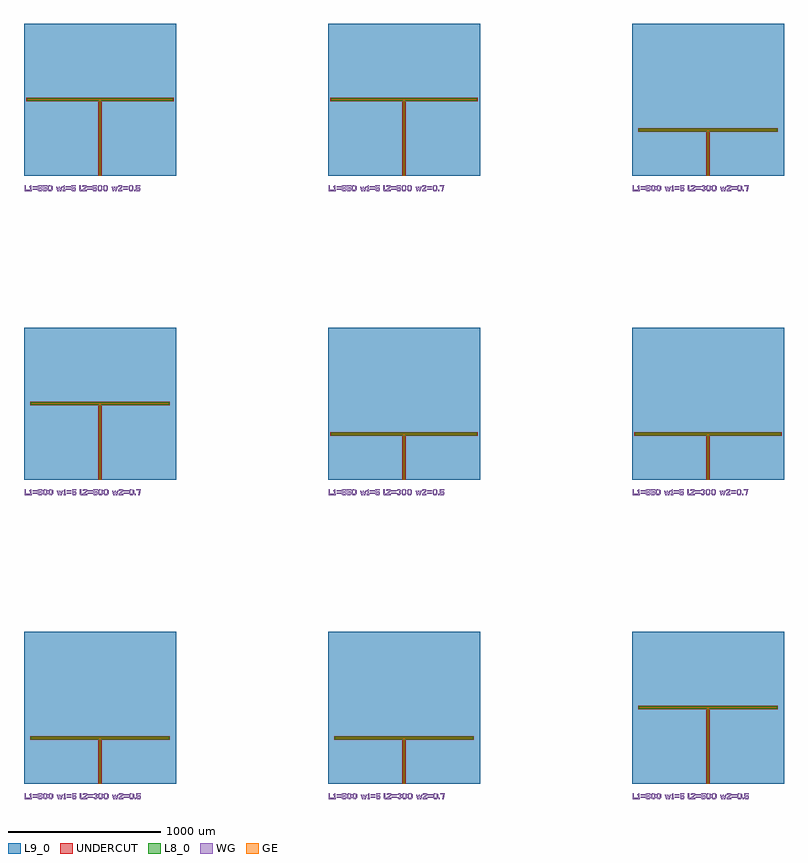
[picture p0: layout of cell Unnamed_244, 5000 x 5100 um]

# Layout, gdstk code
import gdstk
lib = gdstk.Library(unit=1e-6, precision=1e-09)
def R(c, l, rs):  # rectangles x0, y0, x1, y1
    for r in rs: c.add(gdstk.rectangle(r[:2], r[2:], *l))
def P(c, l, *ps):  # polygons
    for p in ps: c.add(gdstk.Polygon(p, *l))
WG = (1, 0)
GE = (5, 0)
UNDERCUT = (6, 0)
L8_0 = (8, 0)
L9_0 = (9, 0)

text_tl1950_w15_l2500_w_ = lib.new_cell('text_TL1950_w15_l2500_w_086d4185')
R(text_tl1950_w15_l2500_w_, WG, [(724,0,732,8), (56,8,88,16), (276,8,308,16), (416,8,448,16), (652,8,684,16), (56,24,88,32), (276,24,308,32), (416,24,448,32), (652,24,684,32)])
P(text_tl1950_w15_l2500_w_, WG, [(748,0),(754.4,32),(736,32),(736,40),(764,40),(756,0)],
  [(368,0),(364,4),(364,40),(372,40),(372,8),(380,8),(380,0)],
  [(4,0),(4,40),(12,40),(12,8),(32,8),(32,0)],
  [(220,0),(212,28),(220,28),(224,14),(228,28),(236,28),(240,14),(244,28),(252,28),(244,0),(236,0),(232,14),(228,0)],
  [(584,0),(576,28),(584,28),(588,14),(592,28),(600,28),(604,14),(608,28),(616,28),(608,0),(600,0),(596,14),(592,0)],
  [(170.8,0),(172.8,8),(176,8),(180,12),(180,28),(176,32),(178,40),(180,40),(188,32),(188,8),(180,0)],
  [(498.8,0),(500.8,8),(504,8),(508,12),(508,28),(504,32),(506,40),(508,40),(516,32),(516,8),(508,0)],
  [(534.8,0),(536.8,8),(540,8),(544,12),(544,28),(540,32),(542,40),(544,40),(552,32),(552,8),(544,0)],
  [(702.8,0),(704.8,8),(708,8),(712,12),(712,28),(708,32),(710,40),(712,40),(720,32),(720,8),(712,0)],
  [(164,0),(156,8),(156,32),(164,40),(173.2,40),(171.2,32),(168,32),(164,28),(164,12),(168,8),(166,0)],
  [(492,0),(484,8),(484,32),(492,40),(501.2,40),(499.2,32),(496,32),(492,28),(492,12),(496,8),(494,0)],
  [(528,0),(520,8),(520,32),(528,40),(537.2,40),(535.2,32),(532,32),(528,28),(528,12),(532,8),(530,0)],
  [(696,0),(688,8),(688,32),(696,40),(705.2,40),(703.2,32),(700,32),(696,28),(696,12),(700,8),(698,0)],
  [(128,0),(124,4),(124,12),(132,12),(132,8),(144,8),(144,16),(128,16),(124,20),(124,40),(152,40),(152,32),(132,32),(132,24),(148,24),(152,20),(152,4),(148,0)],
  [(316,0),(312,4),(312,12),(320,12),(320,8),(332,8),(332,16),(316,16),(312,20),(312,40),(340,40),(340,32),(320,32),(320,24),(336,24),(340,20),(340,4),(336,0)],
  [(456,0),(452,4),(452,12),(460,12),(460,8),(472,8),(472,16),(456,16),(452,20),(452,40),(480,40),(480,32),(460,32),(460,24),(476,24),(480,20),(480,4),(476,0)],
  [(96,0),(92,4),(92,12),(100,12),(100,8),(112,8),(112,16),(96,16),(92,20),(92,36),(96,40),(104,40),(104,32),(100,32),(100,24),(112,24),(112,32),(108,32),(108,40),(116,40),(120,36),(120,4),(116,0)],
  [(36,0),(36,8),(40,8),(40,24),(36,24),(36,32),(44,40),(48,40),(48,8),(52,8),(52,0)],
  [(256,0),(256,8),(260,8),(260,24),(256,24),(256,32),(264,40),(268,40),(268,8),(272,8),(272,0)],
  [(384,0),(384,8),(404,28),(404,32),(392,32),(392,28),(384,28),(384,36),(388,40),(408,40),(412,36),(412,24),(396,8),(412,8),(412,0)],
  [(620,0),(620,8),(640,28),(640,32),(628,32),(628,28),(620,28),(620,36),(624,40),(644,40),(648,36),(648,24),(632,8),(648,8),(648,0)])

rectangle_s960_15_l8_0__ = lib.new_cell('rectangle_S960_15_L8_0__1b9a25d0')
R(rectangle_s960_15_l8_0__, L8_0, [(0,0,960,15)])

rectangle_s10p5_495_l8__ = lib.new_cell('rectangle_S10p5_495_L8__a2ef8117')
R(rectangle_s10p5_495_l8__, L8_0, [(0,0,10.5,495)])

rectangle_s970_25_l6_0__ = lib.new_cell('rectangle_S970_25_L6_0__05adb588')
R(rectangle_s970_25_l6_0__, UNDERCUT, [(0,0,970,25)])

rectangle_s20p5_490_l6__ = lib.new_cell('rectangle_S20p5_490_L6__59c9b7bc')
R(rectangle_s20p5_490_l6__, UNDERCUT, [(0,0,20.5,490)])

rectangle_s950_5_l5_0_c_ = lib.new_cell('rectangle_S950_5_L5_0_C_f04ecbd8')
R(rectangle_s950_5_l5_0_c_, GE, [(0,0,950,5)])

rectangle_s0p5_500_l5_0_ = lib.new_cell('rectangle_S0p5_500_L5_0_ba7ba93c')
R(rectangle_s0p5_500_l5_0_, GE, [(0,0,0.5,500)])

unnamed_241 = lib.new_cell('Unnamed_241')
unnamed_241.add(gdstk.Reference(rectangle_s960_15_l8_0__, (-480,495)))
unnamed_241.add(gdstk.Reference(rectangle_s10p5_495_l8__, (-5.25,0)))
unnamed_241.add(gdstk.Reference(rectangle_s970_25_l6_0__, (-485,490)))
unnamed_241.add(gdstk.Reference(rectangle_s20p5_490_l6__, (-10.25,0)))
unnamed_241.add(gdstk.Reference(rectangle_s950_5_l5_0_c_, (-475,500)))
unnamed_241.add(gdstk.Reference(rectangle_s0p5_500_l5_0_, (-0.25,0)))

c_text_tl1950_w15_l2500_w_ = lib.new_cell('text_TL1950_w15_l2500_w_abd06926')
R(c_text_tl1950_w15_l2500_w_, WG, [(724,0,732,8), (56,8,88,16), (276,8,308,16), (416,8,448,16), (652,8,684,16), (56,24,88,32), (276,24,308,32), (416,24,448,32), (652,24,684,32)])
P(c_text_tl1950_w15_l2500_w_, WG, [(368,0),(364,4),(364,40),(372,40),(372,8),(380,8),(380,0)],
  [(170.8,0),(172.8,8),(176,8),(180,12),(180,28),(176,32),(178,40),(180,40),(188,32),(188,8),(180,0)],
  [(498.8,0),(500.8,8),(504,8),(508,12),(508,28),(504,32),(506,40),(508,40),(516,32),(516,8),(508,0)],
  [(534.8,0),(536.8,8),(540,8),(544,12),(544,28),(540,32),(542,40),(544,40),(552,32),(552,8),(544,0)],
  [(702.8,0),(704.8,8),(708,8),(712,12),(712,28),(708,32),(710,40),(712,40),(720,32),(720,8),(712,0)],
  [(164,0),(156,8),(156,32),(164,40),(173.2,40),(171.2,32),(168,32),(164,28),(164,12),(168,8),(166,0)],
  [(492,0),(484,8),(484,32),(492,40),(501.2,40),(499.2,32),(496,32),(492,28),(492,12),(496,8),(494,0)],
  [(528,0),(520,8),(520,32),(528,40),(537.2,40),(535.2,32),(532,32),(528,28),(528,12),(532,8),(530,0)],
  [(696,0),(688,8),(688,32),(696,40),(705.2,40),(703.2,32),(700,32),(696,28),(696,12),(700,8),(698,0)],
  [(128,0),(124,4),(124,12),(132,12),(132,8),(144,8),(144,16),(128,16),(124,20),(124,40),(152,40),(152,32),(132,32),(132,24),(148,24),(152,20),(152,4),(148,0)],
  [(316,0),(312,4),(312,12),(320,12),(320,8),(332,8),(332,16),(316,16),(312,20),(312,40),(340,40),(340,32),(320,32),(320,24),(336,24),(340,20),(340,4),(336,0)],
  [(456,0),(452,4),(452,12),(460,12),(460,8),(472,8),(472,16),(456,16),(452,20),(452,40),(480,40),(480,32),(460,32),(460,24),(476,24),(480,20),(480,4),(476,0)],
  [(740,0),(736,4),(736,12),(744,12),(744,8),(756,8),(756,16),(740,16),(736,20),(736,40),(764,40),(764,32),(744,32),(744,24),(760,24),(764,20),(764,4),(760,0)],
  [(96,0),(92,4),(92,12),(100,12),(100,8),(112,8),(112,16),(96,16),(92,20),(92,36),(96,40),(104,40),(104,32),(100,32),(100,24),(112,24),(112,32),(108,32),(108,40),(116,40),(120,36),(120,4),(116,0)],
  [(220,0),(212,28),(220,28),(224,14),(228,28),(236,28),(240,14),(244,28),(252,28),(244,0),(236,0),(232,14),(228,0)],
  [(584,0),(576,28),(584,28),(588,14),(592,28),(600,28),(604,14),(608,28),(616,28),(608,0),(600,0),(596,14),(592,0)],
  [(36,0),(36,8),(40,8),(40,24),(36,24),(36,32),(44,40),(48,40),(48,8),(52,8),(52,0)],
  [(256,0),(256,8),(260,8),(260,24),(256,24),(256,32),(264,40),(268,40),(268,8),(272,8),(272,0)],
  [(384,0),(384,8),(404,28),(404,32),(392,32),(392,28),(384,28),(384,36),(388,40),(408,40),(412,36),(412,24),(396,8),(412,8),(412,0)],
  [(620,0),(620,8),(640,28),(640,32),(628,32),(628,28),(620,28),(620,36),(624,40),(644,40),(648,36),(648,24),(632,8),(648,8),(648,0)],
  [(4,0),(4,40),(12,40),(12,8),(32,8),(32,0)])

text_tl1950_w15_l2300_w_ = lib.new_cell('text_TL1950_w15_l2300_w_52a5731e')
R(text_tl1950_w15_l2300_w_, WG, [(724,0,732,8), (56,8,88,16), (276,8,308,16), (416,8,448,16), (652,8,684,16), (56,24,88,32), (276,24,308,32), (416,24,448,32), (652,24,684,32)])
P(text_tl1950_w15_l2300_w_, WG, [(748,0),(754.4,32),(736,32),(736,40),(764,40),(756,0)],
  [(460,0),(452,8),(452,12),(460,12),(464,8),(468,8),(472,12),(468,16),(468,24),(472,28),(468,32),(464,32),(460,28),(452,28),(452,32),(460,40),(472,40),(480,32),(480,24),(476,20),(480,16),(480,8),(472,0)],
  [(368,0),(364,4),(364,40),(372,40),(372,8),(380,8),(380,0)],
  [(4,0),(4,40),(12,40),(12,8),(32,8),(32,0)],
  [(220,0),(212,28),(220,28),(224,14),(228,28),(236,28),(240,14),(244,28),(252,28),(244,0),(236,0),(232,14),(228,0)],
  [(584,0),(576,28),(584,28),(588,14),(592,28),(600,28),(604,14),(608,28),(616,28),(608,0),(600,0),(596,14),(592,0)],
  [(170.8,0),(172.8,8),(176,8),(180,12),(180,28),(176,32),(178,40),(180,40),(188,32),(188,8),(180,0)],
  [(498.8,0),(500.8,8),(504,8),(508,12),(508,28),(504,32),(506,40),(508,40),(516,32),(516,8),(508,0)],
  [(534.8,0),(536.8,8),(540,8),(544,12),(544,28),(540,32),(542,40),(544,40),(552,32),(552,8),(544,0)],
  [(702.8,0),(704.8,8),(708,8),(712,12),(712,28),(708,32),(710,40),(712,40),(720,32),(720,8),(712,0)],
  [(164,0),(156,8),(156,32),(164,40),(173.2,40),(171.2,32),(168,32),(164,28),(164,12),(168,8),(166,0)],
  [(492,0),(484,8),(484,32),(492,40),(501.2,40),(499.2,32),(496,32),(492,28),(492,12),(496,8),(494,0)],
  [(528,0),(520,8),(520,32),(528,40),(537.2,40),(535.2,32),(532,32),(528,28),(528,12),(532,8),(530,0)],
  [(696,0),(688,8),(688,32),(696,40),(705.2,40),(703.2,32),(700,32),(696,28),(696,12),(700,8),(698,0)],
  [(128,0),(124,4),(124,12),(132,12),(132,8),(144,8),(144,16),(128,16),(124,20),(124,40),(152,40),(152,32),(132,32),(132,24),(148,24),(152,20),(152,4),(148,0)],
  [(316,0),(312,4),(312,12),(320,12),(320,8),(332,8),(332,16),(316,16),(312,20),(312,40),(340,40),(340,32),(320,32),(320,24),(336,24),(340,20),(340,4),(336,0)],
  [(96,0),(92,4),(92,12),(100,12),(100,8),(112,8),(112,16),(96,16),(92,20),(92,36),(96,40),(104,40),(104,32),(100,32),(100,24),(112,24),(112,32),(108,32),(108,40),(116,40),(120,36),(120,4),(116,0)],
  [(36,0),(36,8),(40,8),(40,24),(36,24),(36,32),(44,40),(48,40),(48,8),(52,8),(52,0)],
  [(256,0),(256,8),(260,8),(260,24),(256,24),(256,32),(264,40),(268,40),(268,8),(272,8),(272,0)],
  [(384,0),(384,8),(404,28),(404,32),(392,32),(392,28),(384,28),(384,36),(388,40),(408,40),(412,36),(412,24),(396,8),(412,8),(412,0)],
  [(620,0),(620,8),(640,28),(640,32),(628,32),(628,28),(620,28),(620,36),(624,40),(644,40),(648,36),(648,24),(632,8),(648,8),(648,0)])

rectangle_s0p7_300_l5_0_ = lib.new_cell('rectangle_S0p7_300_L5_0_106584ea')
R(rectangle_s0p7_300_l5_0_, GE, [(0,0,0.7,300)])

rectangle_s20p7_290_l6__ = lib.new_cell('rectangle_S20p7_290_L6__7863e632')
R(rectangle_s20p7_290_l6__, UNDERCUT, [(0,0,20.7,290)])

rectangle_s10p7_295_l8__ = lib.new_cell('rectangle_S10p7_295_L8__5a437f7c')
R(rectangle_s10p7_295_l8__, L8_0, [(0,0,10.7,295)])

unnamed_240 = lib.new_cell('Unnamed_240')
unnamed_240.add(gdstk.Reference(rectangle_s960_15_l8_0__, (-480,295)))
unnamed_240.add(gdstk.Reference(rectangle_s970_25_l6_0__, (-485,290)))
unnamed_240.add(gdstk.Reference(rectangle_s0p7_300_l5_0_, (-0.35,0)))
unnamed_240.add(gdstk.Reference(rectangle_s20p7_290_l6__, (-10.35,0)))
unnamed_240.add(gdstk.Reference(rectangle_s10p7_295_l8__, (-5.35,0)))
unnamed_240.add(gdstk.Reference(rectangle_s950_5_l5_0_c_, (-475,300)))

c_text_tl1950_w15_l2300_w_ = lib.new_cell('text_TL1950_w15_l2300_w_c73371ed')
R(c_text_tl1950_w15_l2300_w_, WG, [(724,0,732,8), (56,8,88,16), (276,8,308,16), (416,8,448,16), (652,8,684,16), (56,24,88,32), (276,24,308,32), (416,24,448,32), (652,24,684,32)])
P(c_text_tl1950_w15_l2300_w_, WG, [(460,0),(452,8),(452,12),(460,12),(464,8),(468,8),(472,12),(468,16),(468,24),(472,28),(468,32),(464,32),(460,28),(452,28),(452,32),(460,40),(472,40),(480,32),(480,24),(476,20),(480,16),(480,8),(472,0)],
  [(368,0),(364,4),(364,40),(372,40),(372,8),(380,8),(380,0)],
  [(4,0),(4,40),(12,40),(12,8),(32,8),(32,0)],
  [(220,0),(212,28),(220,28),(224,14),(228,28),(236,28),(240,14),(244,28),(252,28),(244,0),(236,0),(232,14),(228,0)],
  [(584,0),(576,28),(584,28),(588,14),(592,28),(600,28),(604,14),(608,28),(616,28),(608,0),(600,0),(596,14),(592,0)],
  [(170.8,0),(172.8,8),(176,8),(180,12),(180,28),(176,32),(178,40),(180,40),(188,32),(188,8),(180,0)],
  [(498.8,0),(500.8,8),(504,8),(508,12),(508,28),(504,32),(506,40),(508,40),(516,32),(516,8),(508,0)],
  [(534.8,0),(536.8,8),(540,8),(544,12),(544,28),(540,32),(542,40),(544,40),(552,32),(552,8),(544,0)],
  [(702.8,0),(704.8,8),(708,8),(712,12),(712,28),(708,32),(710,40),(712,40),(720,32),(720,8),(712,0)],
  [(164,0),(156,8),(156,32),(164,40),(173.2,40),(171.2,32),(168,32),(164,28),(164,12),(168,8),(166,0)],
  [(492,0),(484,8),(484,32),(492,40),(501.2,40),(499.2,32),(496,32),(492,28),(492,12),(496,8),(494,0)],
  [(528,0),(520,8),(520,32),(528,40),(537.2,40),(535.2,32),(532,32),(528,28),(528,12),(532,8),(530,0)],
  [(696,0),(688,8),(688,32),(696,40),(705.2,40),(703.2,32),(700,32),(696,28),(696,12),(700,8),(698,0)],
  [(128,0),(124,4),(124,12),(132,12),(132,8),(144,8),(144,16),(128,16),(124,20),(124,40),(152,40),(152,32),(132,32),(132,24),(148,24),(152,20),(152,4),(148,0)],
  [(316,0),(312,4),(312,12),(320,12),(320,8),(332,8),(332,16),(316,16),(312,20),(312,40),(340,40),(340,32),(320,32),(320,24),(336,24),(340,20),(340,4),(336,0)],
  [(740,0),(736,4),(736,12),(744,12),(744,8),(756,8),(756,16),(740,16),(736,20),(736,40),(764,40),(764,32),(744,32),(744,24),(760,24),(764,20),(764,4),(760,0)],
  [(96,0),(92,4),(92,12),(100,12),(100,8),(112,8),(112,16),(96,16),(92,20),(92,36),(96,40),(104,40),(104,32),(100,32),(100,24),(112,24),(112,32),(108,32),(108,40),(116,40),(120,36),(120,4),(116,0)],
  [(36,0),(36,8),(40,8),(40,24),(36,24),(36,32),(44,40),(48,40),(48,8),(52,8),(52,0)],
  [(256,0),(256,8),(260,8),(260,24),(256,24),(256,32),(264,40),(268,40),(268,8),(272,8),(272,0)],
  [(384,0),(384,8),(404,28),(404,32),(392,32),(392,28),(384,28),(384,36),(388,40),(408,40),(412,36),(412,24),(396,8),(412,8),(412,0)],
  [(620,0),(620,8),(640,28),(640,32),(628,32),(628,28),(620,28),(620,36),(624,40),(644,40),(648,36),(648,24),(632,8),(648,8),(648,0)])

rectangle_s10p5_295_l8__ = lib.new_cell('rectangle_S10p5_295_L8__ffa8a64a')
R(rectangle_s10p5_295_l8__, L8_0, [(0,0,10.5,295)])

rectangle_s20p5_290_l6__ = lib.new_cell('rectangle_S20p5_290_L6__af2a2720')
R(rectangle_s20p5_290_l6__, UNDERCUT, [(0,0,20.5,290)])

rectangle_s0p5_300_l5_0_ = lib.new_cell('rectangle_S0p5_300_L5_0_bcf38b65')
R(rectangle_s0p5_300_l5_0_, GE, [(0,0,0.5,300)])

unnamed_239 = lib.new_cell('Unnamed_239')
unnamed_239.add(gdstk.Reference(rectangle_s960_15_l8_0__, (-480,295)))
unnamed_239.add(gdstk.Reference(rectangle_s10p5_295_l8__, (-5.25,0)))
unnamed_239.add(gdstk.Reference(rectangle_s20p5_290_l6__, (-10.25,0)))
unnamed_239.add(gdstk.Reference(rectangle_s970_25_l6_0__, (-485,290)))
unnamed_239.add(gdstk.Reference(rectangle_s950_5_l5_0_c_, (-475,300)))
unnamed_239.add(gdstk.Reference(rectangle_s0p5_300_l5_0_, (-0.25,0)))

text_tl1900_w15_l2500_w_ = lib.new_cell('text_TL1900_w15_l2500_w_924e79f2')
R(text_tl1900_w15_l2500_w_, WG, [(728,0,736,8), (56,8,88,16), (280,8,312,16), (420,8,452,16), (656,8,688,16), (56,24,88,32), (280,24,312,32), (420,24,452,32), (656,24,688,32)])
P(text_tl1900_w15_l2500_w_, WG, [(752,0),(758.4,32),(740,32),(740,40),(768,40),(760,0)],
  [(372,0),(368,4),(368,40),(376,40),(376,8),(384,8),(384,0)],
  [(320,0),(316,4),(316,12),(324,12),(324,8),(336,8),(336,16),(320,16),(316,20),(316,40),(344,40),(344,32),(324,32),(324,24),(340,24),(344,20),(344,4),(340,0)],
  [(460,0),(456,4),(456,12),(464,12),(464,8),(476,8),(476,16),(460,16),(456,20),(456,40),(484,40),(484,32),(464,32),(464,24),(480,24),(484,20),(484,4),(480,0)],
  [(4,0),(4,40),(12,40),(12,8),(32,8),(32,0)],
  [(224,0),(216,28),(224,28),(228,14),(232,28),(240,28),(244,14),(248,28),(256,28),(248,0),(240,0),(236,14),(232,0)],
  [(588,0),(580,28),(588,28),(592,14),(596,28),(604,28),(608,14),(612,28),(620,28),(612,0),(604,0),(600,14),(596,0)],
  [(138.8,0),(140.8,8),(144,8),(148,12),(148,28),(144,32),(146,40),(148,40),(156,32),(156,8),(148,0)],
  [(174.8,0),(176.8,8),(180,8),(184,12),(184,28),(180,32),(182,40),(184,40),(192,32),(192,8),(184,0)],
  [(502.8,0),(504.8,8),(508,8),(512,12),(512,28),(508,32),(510,40),(512,40),(520,32),(520,8),(512,0)],
  [(538.8,0),(540.8,8),(544,8),(548,12),(548,28),(544,32),(546,40),(548,40),(556,32),(556,8),(548,0)],
  [(706.8,0),(708.8,8),(712,8),(716,12),(716,28),(712,32),(714,40),(716,40),(724,32),(724,8),(716,0)],
  [(132,0),(124,8),(124,32),(132,40),(141.2,40),(139.2,32),(136,32),(132,28),(132,12),(136,8),(134,0)],
  [(168,0),(160,8),(160,32),(168,40),(177.2,40),(175.2,32),(172,32),(168,28),(168,12),(172,8),(170,0)],
  [(496,0),(488,8),(488,32),(496,40),(505.2,40),(503.2,32),(500,32),(496,28),(496,12),(500,8),(498,0)],
  [(532,0),(524,8),(524,32),(532,40),(541.2,40),(539.2,32),(536,32),(532,28),(532,12),(536,8),(534,0)],
  [(700,0),(692,8),(692,32),(700,40),(709.2,40),(707.2,32),(704,32),(700,28),(700,12),(704,8),(702,0)],
  [(96,0),(92,4),(92,12),(100,12),(100,8),(112,8),(112,16),(96,16),(92,20),(92,36),(96,40),(104,40),(104,32),(100,32),(100,24),(112,24),(112,32),(108,32),(108,40),(116,40),(120,36),(120,4),(116,0)],
  [(36,0),(36,8),(40,8),(40,24),(36,24),(36,32),(44,40),(48,40),(48,8),(52,8),(52,0)],
  [(260,0),(260,8),(264,8),(264,24),(260,24),(260,32),(268,40),(272,40),(272,8),(276,8),(276,0)],
  [(388,0),(388,8),(408,28),(408,32),(396,32),(396,28),(388,28),(388,36),(392,40),(412,40),(416,36),(416,24),(400,8),(416,8),(416,0)],
  [(624,0),(624,8),(644,28),(644,32),(632,32),(632,28),(624,28),(624,36),(628,40),(648,40),(652,36),(652,24),(636,8),(652,8),(652,0)])

rectangle_s920_25_l6_0__ = lib.new_cell('rectangle_S920_25_L6_0__c2643c97')
R(rectangle_s920_25_l6_0__, UNDERCUT, [(0,0,920,25)])

rectangle_s0p7_500_l5_0_ = lib.new_cell('rectangle_S0p7_500_L5_0_5f5ccab6')
R(rectangle_s0p7_500_l5_0_, GE, [(0,0,0.7,500)])

rectangle_s20p7_490_l6__ = lib.new_cell('rectangle_S20p7_490_L6__c76dff1f')
R(rectangle_s20p7_490_l6__, UNDERCUT, [(0,0,20.7,490)])

rectangle_s900_5_l5_0_c_ = lib.new_cell('rectangle_S900_5_L5_0_C_e98a737c')
R(rectangle_s900_5_l5_0_c_, GE, [(0,0,900,5)])

rectangle_s910_15_l8_0__ = lib.new_cell('rectangle_S910_15_L8_0__1d112a65')
R(rectangle_s910_15_l8_0__, L8_0, [(0,0,910,15)])

rectangle_s10p7_495_l8__ = lib.new_cell('rectangle_S10p7_495_L8__2b4584b7')
R(rectangle_s10p7_495_l8__, L8_0, [(0,0,10.7,495)])

unnamed_238 = lib.new_cell('Unnamed_238')
unnamed_238.add(gdstk.Reference(rectangle_s920_25_l6_0__, (-460,490)))
unnamed_238.add(gdstk.Reference(rectangle_s0p7_500_l5_0_, (-0.35,0)))
unnamed_238.add(gdstk.Reference(rectangle_s20p7_490_l6__, (-10.35,0)))
unnamed_238.add(gdstk.Reference(rectangle_s900_5_l5_0_c_, (-450,500)))
unnamed_238.add(gdstk.Reference(rectangle_s910_15_l8_0__, (-455,495)))
unnamed_238.add(gdstk.Reference(rectangle_s10p7_495_l8__, (-5.35,0)))

unnamed_237 = lib.new_cell('Unnamed_237')
unnamed_237.add(gdstk.Reference(rectangle_s910_15_l8_0__, (-455,495)))
unnamed_237.add(gdstk.Reference(rectangle_s10p5_495_l8__, (-5.25,0)))
unnamed_237.add(gdstk.Reference(rectangle_s920_25_l6_0__, (-460,490)))
unnamed_237.add(gdstk.Reference(rectangle_s20p5_490_l6__, (-10.25,0)))
unnamed_237.add(gdstk.Reference(rectangle_s900_5_l5_0_c_, (-450,500)))
unnamed_237.add(gdstk.Reference(rectangle_s0p5_500_l5_0_, (-0.25,0)))

text_tl1900_w15_l2300_w_ = lib.new_cell('text_TL1900_w15_l2300_w_3a80fd20')
R(text_tl1900_w15_l2300_w_, WG, [(728,0,736,8), (56,8,88,16), (280,8,312,16), (420,8,452,16), (656,8,688,16), (56,24,88,32), (280,24,312,32), (420,24,452,32), (656,24,688,32)])
P(text_tl1900_w15_l2300_w_, WG, [(752,0),(758.4,32),(740,32),(740,40),(768,40),(760,0)],
  [(464,0),(456,8),(456,12),(464,12),(468,8),(472,8),(476,12),(472,16),(472,24),(476,28),(472,32),(468,32),(464,28),(456,28),(456,32),(464,40),(476,40),(484,32),(484,24),(480,20),(484,16),(484,8),(476,0)],
  [(372,0),(368,4),(368,40),(376,40),(376,8),(384,8),(384,0)],
  [(320,0),(316,4),(316,12),(324,12),(324,8),(336,8),(336,16),(320,16),(316,20),(316,40),(344,40),(344,32),(324,32),(324,24),(340,24),(344,20),(344,4),(340,0)],
  [(4,0),(4,40),(12,40),(12,8),(32,8),(32,0)],
  [(224,0),(216,28),(224,28),(228,14),(232,28),(240,28),(244,14),(248,28),(256,28),(248,0),(240,0),(236,14),(232,0)],
  [(588,0),(580,28),(588,28),(592,14),(596,28),(604,28),(608,14),(612,28),(620,28),(612,0),(604,0),(600,14),(596,0)],
  [(138.8,0),(140.8,8),(144,8),(148,12),(148,28),(144,32),(146,40),(148,40),(156,32),(156,8),(148,0)],
  [(174.8,0),(176.8,8),(180,8),(184,12),(184,28),(180,32),(182,40),(184,40),(192,32),(192,8),(184,0)],
  [(502.8,0),(504.8,8),(508,8),(512,12),(512,28),(508,32),(510,40),(512,40),(520,32),(520,8),(512,0)],
  [(538.8,0),(540.8,8),(544,8),(548,12),(548,28),(544,32),(546,40),(548,40),(556,32),(556,8),(548,0)],
  [(706.8,0),(708.8,8),(712,8),(716,12),(716,28),(712,32),(714,40),(716,40),(724,32),(724,8),(716,0)],
  [(132,0),(124,8),(124,32),(132,40),(141.2,40),(139.2,32),(136,32),(132,28),(132,12),(136,8),(134,0)],
  [(168,0),(160,8),(160,32),(168,40),(177.2,40),(175.2,32),(172,32),(168,28),(168,12),(172,8),(170,0)],
  [(496,0),(488,8),(488,32),(496,40),(505.2,40),(503.2,32),(500,32),(496,28),(496,12),(500,8),(498,0)],
  [(532,0),(524,8),(524,32),(532,40),(541.2,40),(539.2,32),(536,32),(532,28),(532,12),(536,8),(534,0)],
  [(700,0),(692,8),(692,32),(700,40),(709.2,40),(707.2,32),(704,32),(700,28),(700,12),(704,8),(702,0)],
  [(96,0),(92,4),(92,12),(100,12),(100,8),(112,8),(112,16),(96,16),(92,20),(92,36),(96,40),(104,40),(104,32),(100,32),(100,24),(112,24),(112,32),(108,32),(108,40),(116,40),(120,36),(120,4),(116,0)],
  [(36,0),(36,8),(40,8),(40,24),(36,24),(36,32),(44,40),(48,40),(48,8),(52,8),(52,0)],
  [(260,0),(260,8),(264,8),(264,24),(260,24),(260,32),(268,40),(272,40),(272,8),(276,8),(276,0)],
  [(388,0),(388,8),(408,28),(408,32),(396,32),(396,28),(388,28),(388,36),(392,40),(412,40),(416,36),(416,24),(400,8),(416,8),(416,0)],
  [(624,0),(624,8),(644,28),(644,32),(632,32),(632,28),(624,28),(624,36),(628,40),(648,40),(652,36),(652,24),(636,8),(652,8),(652,0)])

c_text_tl1900_w15_l2500_w_ = lib.new_cell('text_TL1900_w15_l2500_w_5df65d30')
R(c_text_tl1900_w15_l2500_w_, WG, [(728,0,736,8), (56,8,88,16), (280,8,312,16), (420,8,452,16), (656,8,688,16), (56,24,88,32), (280,24,312,32), (420,24,452,32), (656,24,688,32)])
P(c_text_tl1900_w15_l2500_w_, WG, [(372,0),(368,4),(368,40),(376,40),(376,8),(384,8),(384,0)],
  [(320,0),(316,4),(316,12),(324,12),(324,8),(336,8),(336,16),(320,16),(316,20),(316,40),(344,40),(344,32),(324,32),(324,24),(340,24),(344,20),(344,4),(340,0)],
  [(460,0),(456,4),(456,12),(464,12),(464,8),(476,8),(476,16),(460,16),(456,20),(456,40),(484,40),(484,32),(464,32),(464,24),(480,24),(484,20),(484,4),(480,0)],
  [(744,0),(740,4),(740,12),(748,12),(748,8),(760,8),(760,16),(744,16),(740,20),(740,40),(768,40),(768,32),(748,32),(748,24),(764,24),(768,20),(768,4),(764,0)],
  [(138.8,0),(140.8,8),(144,8),(148,12),(148,28),(144,32),(146,40),(148,40),(156,32),(156,8),(148,0)],
  [(174.8,0),(176.8,8),(180,8),(184,12),(184,28),(180,32),(182,40),(184,40),(192,32),(192,8),(184,0)],
  [(502.8,0),(504.8,8),(508,8),(512,12),(512,28),(508,32),(510,40),(512,40),(520,32),(520,8),(512,0)],
  [(538.8,0),(540.8,8),(544,8),(548,12),(548,28),(544,32),(546,40),(548,40),(556,32),(556,8),(548,0)],
  [(706.8,0),(708.8,8),(712,8),(716,12),(716,28),(712,32),(714,40),(716,40),(724,32),(724,8),(716,0)],
  [(132,0),(124,8),(124,32),(132,40),(141.2,40),(139.2,32),(136,32),(132,28),(132,12),(136,8),(134,0)],
  [(168,0),(160,8),(160,32),(168,40),(177.2,40),(175.2,32),(172,32),(168,28),(168,12),(172,8),(170,0)],
  [(496,0),(488,8),(488,32),(496,40),(505.2,40),(503.2,32),(500,32),(496,28),(496,12),(500,8),(498,0)],
  [(532,0),(524,8),(524,32),(532,40),(541.2,40),(539.2,32),(536,32),(532,28),(532,12),(536,8),(534,0)],
  [(700,0),(692,8),(692,32),(700,40),(709.2,40),(707.2,32),(704,32),(700,28),(700,12),(704,8),(702,0)],
  [(96,0),(92,4),(92,12),(100,12),(100,8),(112,8),(112,16),(96,16),(92,20),(92,36),(96,40),(104,40),(104,32),(100,32),(100,24),(112,24),(112,32),(108,32),(108,40),(116,40),(120,36),(120,4),(116,0)],
  [(224,0),(216,28),(224,28),(228,14),(232,28),(240,28),(244,14),(248,28),(256,28),(248,0),(240,0),(236,14),(232,0)],
  [(588,0),(580,28),(588,28),(592,14),(596,28),(604,28),(608,14),(612,28),(620,28),(612,0),(604,0),(600,14),(596,0)],
  [(36,0),(36,8),(40,8),(40,24),(36,24),(36,32),(44,40),(48,40),(48,8),(52,8),(52,0)],
  [(260,0),(260,8),(264,8),(264,24),(260,24),(260,32),(268,40),(272,40),(272,8),(276,8),(276,0)],
  [(388,0),(388,8),(408,28),(408,32),(396,32),(396,28),(388,28),(388,36),(392,40),(412,40),(416,36),(416,24),(400,8),(416,8),(416,0)],
  [(624,0),(624,8),(644,28),(644,32),(632,32),(632,28),(624,28),(624,36),(628,40),(648,40),(652,36),(652,24),(636,8),(652,8),(652,0)],
  [(4,0),(4,40),(12,40),(12,8),(32,8),(32,0)])

unnamed_236 = lib.new_cell('Unnamed_236')
unnamed_236.add(gdstk.Reference(rectangle_s910_15_l8_0__, (-455,295)))
unnamed_236.add(gdstk.Reference(rectangle_s0p7_300_l5_0_, (-0.35,0)))
unnamed_236.add(gdstk.Reference(rectangle_s20p7_290_l6__, (-10.35,0)))
unnamed_236.add(gdstk.Reference(rectangle_s900_5_l5_0_c_, (-450,300)))
unnamed_236.add(gdstk.Reference(rectangle_s10p7_295_l8__, (-5.35,0)))
unnamed_236.add(gdstk.Reference(rectangle_s920_25_l6_0__, (-460,290)))

unnamed_242 = lib.new_cell('Unnamed_242')
unnamed_242.add(gdstk.Reference(rectangle_s960_15_l8_0__, (-480,495)))
unnamed_242.add(gdstk.Reference(rectangle_s0p7_500_l5_0_, (-0.35,0)))
unnamed_242.add(gdstk.Reference(rectangle_s20p7_490_l6__, (-10.35,0)))
unnamed_242.add(gdstk.Reference(rectangle_s950_5_l5_0_c_, (-475,500)))
unnamed_242.add(gdstk.Reference(rectangle_s10p7_495_l8__, (-5.35,0)))
unnamed_242.add(gdstk.Reference(rectangle_s970_25_l6_0__, (-485,490)))

rectangle_s1000_1000_l9_ = lib.new_cell('rectangle_S1000_1000_L9_afc64d79')
R(rectangle_s1000_1000_l9_, L9_0, [(0,0,1000,1000)])

c_text_tl1900_w15_l2300_w_ = lib.new_cell('text_TL1900_w15_l2300_w_2759acd3')
R(c_text_tl1900_w15_l2300_w_, WG, [(728,0,736,8), (56,8,88,16), (280,8,312,16), (420,8,452,16), (656,8,688,16), (56,24,88,32), (280,24,312,32), (420,24,452,32), (656,24,688,32)])
P(c_text_tl1900_w15_l2300_w_, WG, [(464,0),(456,8),(456,12),(464,12),(468,8),(472,8),(476,12),(472,16),(472,24),(476,28),(472,32),(468,32),(464,28),(456,28),(456,32),(464,40),(476,40),(484,32),(484,24),(480,20),(484,16),(484,8),(476,0)],
  [(372,0),(368,4),(368,40),(376,40),(376,8),(384,8),(384,0)],
  [(320,0),(316,4),(316,12),(324,12),(324,8),(336,8),(336,16),(320,16),(316,20),(316,40),(344,40),(344,32),(324,32),(324,24),(340,24),(344,20),(344,4),(340,0)],
  [(744,0),(740,4),(740,12),(748,12),(748,8),(760,8),(760,16),(744,16),(740,20),(740,40),(768,40),(768,32),(748,32),(748,24),(764,24),(768,20),(768,4),(764,0)],
  [(4,0),(4,40),(12,40),(12,8),(32,8),(32,0)],
  [(224,0),(216,28),(224,28),(228,14),(232,28),(240,28),(244,14),(248,28),(256,28),(248,0),(240,0),(236,14),(232,0)],
  [(588,0),(580,28),(588,28),(592,14),(596,28),(604,28),(608,14),(612,28),(620,28),(612,0),(604,0),(600,14),(596,0)],
  [(138.8,0),(140.8,8),(144,8),(148,12),(148,28),(144,32),(146,40),(148,40),(156,32),(156,8),(148,0)],
  [(174.8,0),(176.8,8),(180,8),(184,12),(184,28),(180,32),(182,40),(184,40),(192,32),(192,8),(184,0)],
  [(502.8,0),(504.8,8),(508,8),(512,12),(512,28),(508,32),(510,40),(512,40),(520,32),(520,8),(512,0)],
  [(538.8,0),(540.8,8),(544,8),(548,12),(548,28),(544,32),(546,40),(548,40),(556,32),(556,8),(548,0)],
  [(706.8,0),(708.8,8),(712,8),(716,12),(716,28),(712,32),(714,40),(716,40),(724,32),(724,8),(716,0)],
  [(132,0),(124,8),(124,32),(132,40),(141.2,40),(139.2,32),(136,32),(132,28),(132,12),(136,8),(134,0)],
  [(168,0),(160,8),(160,32),(168,40),(177.2,40),(175.2,32),(172,32),(168,28),(168,12),(172,8),(170,0)],
  [(496,0),(488,8),(488,32),(496,40),(505.2,40),(503.2,32),(500,32),(496,28),(496,12),(500,8),(498,0)],
  [(532,0),(524,8),(524,32),(532,40),(541.2,40),(539.2,32),(536,32),(532,28),(532,12),(536,8),(534,0)],
  [(700,0),(692,8),(692,32),(700,40),(709.2,40),(707.2,32),(704,32),(700,28),(700,12),(704,8),(702,0)],
  [(96,0),(92,4),(92,12),(100,12),(100,8),(112,8),(112,16),(96,16),(92,20),(92,36),(96,40),(104,40),(104,32),(100,32),(100,24),(112,24),(112,32),(108,32),(108,40),(116,40),(120,36),(120,4),(116,0)],
  [(36,0),(36,8),(40,8),(40,24),(36,24),(36,32),(44,40),(48,40),(48,8),(52,8),(52,0)],
  [(260,0),(260,8),(264,8),(264,24),(260,24),(260,32),(268,40),(272,40),(272,8),(276,8),(276,0)],
  [(388,0),(388,8),(408,28),(408,32),(396,32),(396,28),(388,28),(388,36),(392,40),(412,40),(416,36),(416,24),(400,8),(416,8),(416,0)],
  [(624,0),(624,8),(644,28),(644,32),(632,32),(632,28),(624,28),(624,36),(628,40),(648,40),(652,36),(652,24),(636,8),(652,8),(652,0)])

unnamed_235 = lib.new_cell('Unnamed_235')
unnamed_235.add(gdstk.Reference(rectangle_s910_15_l8_0__, (-455,295)))
unnamed_235.add(gdstk.Reference(rectangle_s10p5_295_l8__, (-5.25,0)))
unnamed_235.add(gdstk.Reference(rectangle_s920_25_l6_0__, (-460,290)))
unnamed_235.add(gdstk.Reference(rectangle_s0p5_300_l5_0_, (-0.25,0)))
unnamed_235.add(gdstk.Reference(rectangle_s900_5_l5_0_c_, (-450,300)))
unnamed_235.add(gdstk.Reference(rectangle_s20p5_290_l6__, (-10.25,0)))

unnamed_244 = lib.new_cell('Unnamed_244')
unnamed_244.add(gdstk.Reference(text_tl1950_w15_l2500_w_, (2000,3900)))
unnamed_244.add(gdstk.Reference(unnamed_241, (500,4000)))
unnamed_244.add(gdstk.Reference(c_text_tl1950_w15_l2500_w_, (0,3900)))
unnamed_244.add(gdstk.Reference(text_tl1950_w15_l2300_w_, (4000,1900)))
unnamed_244.add(gdstk.Reference(unnamed_240, (4500,2000)))
unnamed_244.add(gdstk.Reference(c_text_tl1950_w15_l2300_w_, (2000,1900)))
unnamed_244.add(gdstk.Reference(unnamed_239, (2500,2000)))
unnamed_244.add(gdstk.Reference(text_tl1900_w15_l2500_w_, (0,1900)))
unnamed_244.add(gdstk.Reference(unnamed_238, (500,2000)))
unnamed_244.add(gdstk.Reference(unnamed_237, (4500,0)))
unnamed_244.add(gdstk.Reference(text_tl1900_w15_l2300_w_, (2000,-100)))
unnamed_244.add(gdstk.Reference(text_tl1900_w15_l2300_w_, (4000,3900)))
unnamed_244.add(gdstk.Reference(c_text_tl1900_w15_l2500_w_, (4000,-100)))
unnamed_244.add(gdstk.Reference(unnamed_236, (2500,0)))
unnamed_244.add(gdstk.Reference(unnamed_236, (4500,4000)))
unnamed_244.add(gdstk.Reference(unnamed_242, (2500,4000)))
unnamed_244.add(gdstk.Reference(rectangle_s1000_1000_l9_, (0,0)))
unnamed_244.add(gdstk.Reference(rectangle_s1000_1000_l9_, (2000,0)))
unnamed_244.add(gdstk.Reference(rectangle_s1000_1000_l9_, (4000,0)))
unnamed_244.add(gdstk.Reference(rectangle_s1000_1000_l9_, (0,2000)))
unnamed_244.add(gdstk.Reference(rectangle_s1000_1000_l9_, (2000,2000)))
unnamed_244.add(gdstk.Reference(rectangle_s1000_1000_l9_, (4000,2000)))
unnamed_244.add(gdstk.Reference(rectangle_s1000_1000_l9_, (0,4000)))
unnamed_244.add(gdstk.Reference(rectangle_s1000_1000_l9_, (2000,4000)))
unnamed_244.add(gdstk.Reference(rectangle_s1000_1000_l9_, (4000,4000)))
unnamed_244.add(gdstk.Reference(c_text_tl1900_w15_l2300_w_, (0,-100)))
unnamed_244.add(gdstk.Reference(unnamed_235, (500,0)))

lib.write_gds('Unnamed_244.gds')
